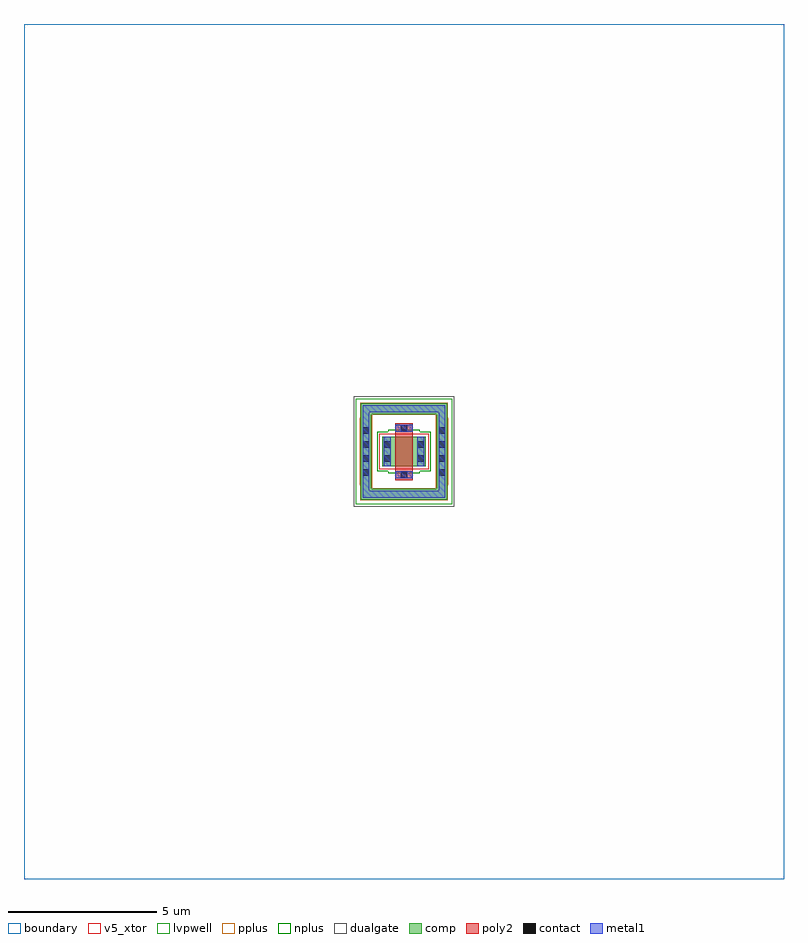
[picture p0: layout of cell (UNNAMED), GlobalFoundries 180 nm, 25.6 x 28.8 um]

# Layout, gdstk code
import gdstk
lib = gdstk.Library(unit=1e-6, precision=1e-09)
def R(c, l, rs):  # rectangles x0, y0, x1, y1
    for r in rs: c.add(gdstk.rectangle(r[:2], r[2:], *l))
def A(c, l, x, y, w, h, nx, ny, dx, dy):  # array of equal rectangles
    R(c, l, [(x+i*dx, y+j*dy, x+i*dx+w, y+j*dy+h) for i in range(nx) for j in range(ny)])
boundary = (0, 0)
comp = (22, 0)
poly2 = (30, 0)
pplus = (31, 0)
nplus = (32, 0)
contact = (33, 0)
metal1 = (34, 0)
dualgate = (55, 0)
v5_xtor = (112, 1)
lvpwell = (204, 0)

c__unnamed_ = lib.new_cell('(UNNAMED)')
R(c__unnamed_, boundary, [(-12.8,-14.4,12.8,14.4)])
R(c__unnamed_, comp, [(-1.46,-1.62,1.46,-1.26), (-1.46,-1.26,-1.1,1.26), (1.1,-1.26,1.46,1.26), (-0.74,-0.5,0.74,0.5), (-1.46,1.26,1.46,1.62)])
R(c__unnamed_, poly2, [(-0.3,-0.96,0.3,0.96)])
R(c__unnamed_, pplus, [(-1.48,-1.64,1.48,-1.24), (-1.48,-1.24,-1.07,-1.135), (1.07,-1.24,1.48,-1.135), (-1.49,-1.135,-1.07,1.135), (1.07,-1.135,1.49,1.135), (-1.48,1.135,-1.07,1.24), (1.07,1.135,1.48,1.24), (-1.48,1.24,1.48,1.64)])
R(c__unnamed_, nplus, [(-0.53,-0.73,0.53,-0.66), (-0.9,-0.66,0.9,0.66), (-0.53,0.66,0.53,0.73)])
A(c__unnamed_, contact, -1.39, -0.815, 0.22, 0.22, 1, 4, 0, 0.47)
A(c__unnamed_, contact, 1.17, -0.815, 0.22, 0.22, 1, 4, 0, 0.47)
R(c__unnamed_, contact, [(-0.11,-0.89,0.11,-0.67), (-0.67,-0.345,-0.45,-0.125), (0.45,-0.345,0.67,-0.125), (-0.67,0.125,-0.45,0.345), (0.45,0.125,0.67,0.345), (-0.11,0.67,0.11,0.89)])
R(c__unnamed_, metal1, [(-1.395,-1.555,1.395,-1.325), (-1.395,-1.325,-1.165,1.325), (1.165,-1.325,1.395,1.325), (-0.29,-0.895,0.29,-0.665), (-0.675,-0.49,-0.445,0.49), (0.445,-0.49,0.675,0.49), (-0.29,0.665,0.29,0.895), (-1.395,1.325,1.395,1.555)])
R(c__unnamed_, dualgate, [(-1.7,-1.86,1.7,1.86)])
R(c__unnamed_, v5_xtor, [(-0.84,-0.6,0.84,0.6)])
R(c__unnamed_, lvpwell, [(-1.62,-1.78,1.62,1.78)])

lib.write_gds('_UNNAMED_.gds')
